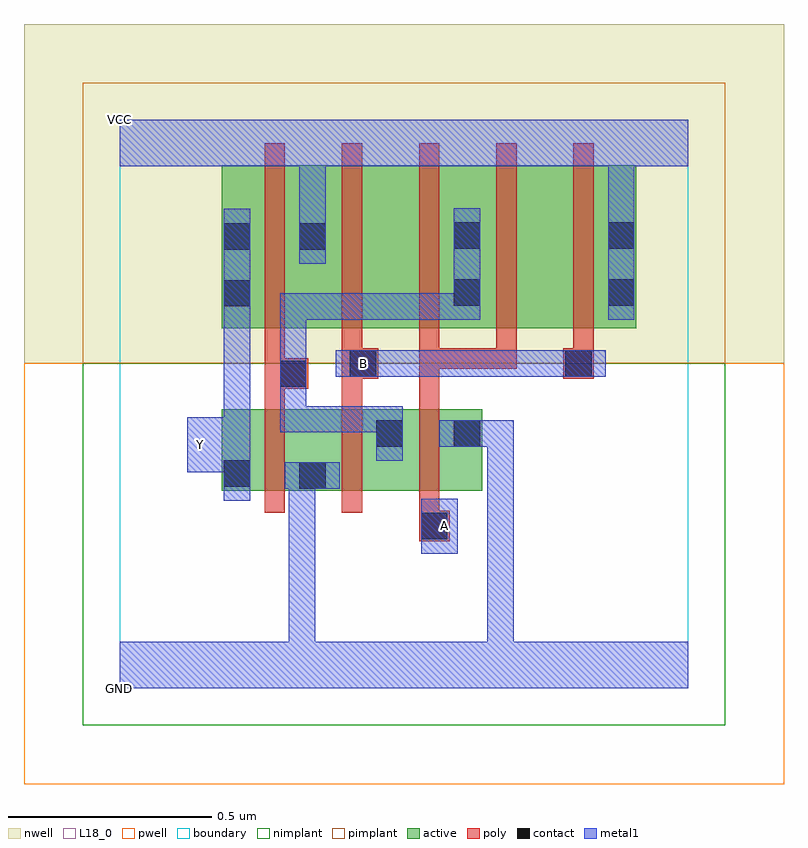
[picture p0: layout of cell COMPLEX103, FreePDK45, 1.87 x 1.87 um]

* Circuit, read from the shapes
.subckt COMPLEX103 A B GND VCC Y
M1 GND n1 Y VSUBS nfet w=0.2u l=0.05u
M2 n1 B GND VSUBS nfet w=0.2u l=0.05u
M3 GND A n1 VSUBS nfet w=0.2u l=0.05u
M4 VCC n1 Y n2 pfet w=0.4u l=0.05u
M5 n3 B VCC n2 pfet w=0.4u l=0.05u
M6 n1 A n3 n2 pfet w=0.4u l=0.05u
M7 n4 A n1 n2 pfet w=0.4u l=0.05u
M8 VCC B n4 n2 pfet w=0.4u l=0.05u
.ends

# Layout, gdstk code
import gdstk
lib = gdstk.Library(unit=1e-6, precision=1e-09)
def R(c, l, rs):  # rectangles x0, y0, x1, y1
    for r in rs: c.add(gdstk.rectangle(r[:2], r[2:], *l))
def A(c, l, x, y, w, h, nx, ny, dx, dy):  # array of equal rectangles
    R(c, l, [(x+i*dx, y+j*dy, x+i*dx+w, y+j*dy+h) for i in range(nx) for j in range(ny)])
active = (1, 0)
pwell = (2, 0)
nwell = (3, 0)
nimplant = (4, 0)
pimplant = (5, 0)
poly = (9, 0)
contact = (10, 0)
metal1 = (11, 0)
L18_0 = (18, 0)
boundary = (235, 0)

complex103 = lib.new_cell('COMPLEX103')
R(complex103, active, [(0.252,0.487,0.327,0.687), (0.252,0.487,0.512,0.687), (0.437,0.487,0.702,0.687), (0.437,0.487,0.512,0.597), (0.627,0.487,0.892,0.687), (0.627,0.487,0.702,0.665), (0.817,0.487,0.892,0.687), (0.252,0.887,0.512,1.287), (0.252,0.887,0.327,1.2), (0.437,0.887,0.667,1.287), (0.667,0.887,0.892,1.287), (0.817,0.887,1.047,1.287), (1.047,0.887,1.272,1.287), (1.197,0.887,1.272,1.255), (0.437,0.907,0.512,1.255), (0.817,0.907,0.892,1.2)])
R(complex103, pwell, [(-0.235,-0.235,1.635,0.8)])
R(complex103, nwell, [(-0.235,0.8,1.635,1.635)])
R(complex103, nimplant, [(-0.09,-0.09,1.49,0.8)])
R(complex103, pimplant, [(-0.09,0.8,1.49,1.49)])
A(complex103, poly, 0.357, 0.432, 0.05, 0.31, 3, 1, 0.19, 0)
A(complex103, poly, 0.547, 0.787, 0.05, 0.095, 4, 1, 0.19, 0)
A(complex103, poly, 0.357, 0.832, 0.05, 0.51, 5, 1, 0.19, 0)
R(complex103, poly, [(0.737,0.362,0.812,0.437), (0.737,0.387,0.787,0.482), (0.357,0.692,0.407,0.787), (0.547,0.692,0.597,0.812), (0.737,0.692,0.787,0.837), (0.357,0.737,0.465,0.812), (0.357,0.762,0.407,0.882), (0.547,0.762,0.637,0.837), (1.092,0.762,1.167,0.837), (0.737,0.787,0.787,0.837), (0.737,0.787,0.977,0.837), (0.927,0.787,0.977,0.837), (0.927,0.787,0.977,0.837), (0.927,0.787,0.977,0.837)])
R(complex103, contact, [(0.742,0.367,0.807,0.432), (0.442,0.492,0.507,0.557), (0.257,0.497,0.322,0.562), (0.632,0.595,0.697,0.66), (0.822,0.595,0.887,0.66), (0.395,0.742,0.46,0.807), (0.567,0.767,0.632,0.832), (1.097,0.767,1.162,0.832), (0.257,0.94,0.322,1.005), (0.822,0.942,0.887,1.007), (1.202,0.942,1.267,1.007), (0.257,1.08,0.322,1.145), (0.442,1.08,0.507,1.145), (0.822,1.082,0.887,1.147), (1.202,1.082,1.267,1.147)])
R(complex103, metal1, [(0,0,1.4,0.115), (0.417,0.05,0.482,0.115), (0.417,0.05,0.482,0.115), (0.417,0.05,0.482,0.557), (0.905,0.05,0.97,0.115), (0.905,0.05,0.97,0.115), (0.905,0.05,0.97,0.115), (0.905,0.05,0.97,0.115), (0.905,0.05,0.97,0.115), (0.905,0.05,0.97,0.115), (0.905,0.05,0.97,0.66), (0.742,0.332,0.832,0.467), (0.257,0.462,0.322,0.597), (0.407,0.492,0.542,0.557), (0.417,0.492,0.482,0.557), (0.417,0.492,0.482,0.557), (0.417,0.492,0.482,0.557), (0.417,0.492,0.482,0.557), (0.417,0.492,0.482,0.557), (0.417,0.492,0.482,0.557), (0.167,0.532,0.322,0.667), (0.257,0.532,0.322,0.597), (0.632,0.56,0.697,0.695), (0.787,0.595,0.97,0.66), (0.905,0.595,0.97,0.66), (0.905,0.595,0.97,0.66), (0.257,0.602,0.322,0.97), (0.395,0.63,0.46,0.695), (0.395,0.63,0.62,0.695), (0.395,0.63,0.46,0.842), (0.555,0.63,0.62,0.695), (0.555,0.63,0.697,0.695), (0.395,0.707,0.46,0.842), (0.532,0.767,0.667,0.832), (0.602,0.767,0.667,0.832), (0.602,0.767,0.667,0.832), (0.602,0.767,0.852,0.832), (0.787,0.767,0.852,0.832), (0.787,0.767,0.852,0.832), (0.787,0.767,0.852,0.832), (0.787,0.767,0.99,0.832), (0.925,0.767,0.99,0.832), (0.925,0.767,1.127,0.832), (1.062,0.767,1.127,0.832), (1.062,0.767,1.127,0.832), (1.062,0.767,1.197,0.832), (0.395,0.777,0.46,0.842), (0.395,0.777,0.46,0.842), (0.395,0.777,0.46,0.972), (0.257,0.905,0.322,1.18), (0.395,0.907,0.46,0.972), (0.395,0.907,0.67,0.972), (0.605,0.907,0.67,0.972), (0.605,0.907,0.67,0.972), (0.605,0.907,0.67,0.972), (0.605,0.907,0.852,0.972), (0.787,0.907,0.852,0.972), (0.787,0.907,0.887,0.972), (0.822,0.907,0.887,1.182), (1.202,0.907,1.267,1.182), (0.442,1.045,0.507,1.18), (0.442,1.115,0.507,1.35), (1.202,1.117,1.267,1.35), (0,1.285,1.4,1.4)])
R(complex103, L18_0, [(0,0,1.4,0.115), (0.417,0.05,0.482,0.115), (0.417,0.05,0.482,0.115), (0.417,0.05,0.482,0.557), (0.905,0.05,0.97,0.115), (0.905,0.05,0.97,0.115), (0.905,0.05,0.97,0.115), (0.905,0.05,0.97,0.115), (0.905,0.05,0.97,0.115), (0.905,0.05,0.97,0.115), (0.905,0.05,0.97,0.66), (0.742,0.332,0.832,0.467), (0.767,0.367,0.832,0.432), (0.257,0.462,0.322,0.597), (0.407,0.492,0.542,0.557), (0.417,0.492,0.482,0.557), (0.417,0.492,0.482,0.557), (0.417,0.492,0.482,0.557), (0.417,0.492,0.482,0.557), (0.417,0.492,0.482,0.557), (0.417,0.492,0.482,0.557), (0.167,0.532,0.322,0.667), (0.257,0.532,0.322,0.597), (0.167,0.567,0.232,0.632), (0.787,0.595,0.97,0.66), (0.905,0.595,0.97,0.66), (0.905,0.595,0.97,0.66), (0.257,0.602,0.322,0.97), (0.532,0.767,0.667,0.832), (0.567,0.767,0.632,0.832), (0.602,0.767,0.667,0.832), (0.602,0.767,0.667,0.832), (0.602,0.767,0.852,0.832), (0.787,0.767,0.852,0.832), (0.787,0.767,0.852,0.832), (0.787,0.767,0.852,0.832), (0.787,0.767,0.99,0.832), (0.925,0.767,0.99,0.832), (0.925,0.767,1.127,0.832), (1.062,0.767,1.127,0.832), (1.062,0.767,1.127,0.832), (1.062,0.767,1.197,0.832), (0.257,0.905,0.322,1.18), (1.202,0.907,1.267,1.182), (0.442,1.045,0.507,1.18), (0.442,1.115,0.507,1.35), (1.202,1.117,1.267,1.35), (0,1.285,1.4,1.4)])
R(complex103, boundary, [(0,0,1.4,1.4)])
complex103.add(gdstk.Label('A', (0.8,0.4), layer=11, texttype=0))
complex103.add(gdstk.Label('B', (0.6,0.8), layer=11, texttype=0))
complex103.add(gdstk.Label('Y', (0.2,0.6), layer=11, texttype=0))
complex103.add(gdstk.Label('VCC', (0,1.4), layer=11, texttype=0))
complex103.add(gdstk.Label('GND', (0,0), layer=11, texttype=0))

lib.write_gds('COMPLEX103.gds')
